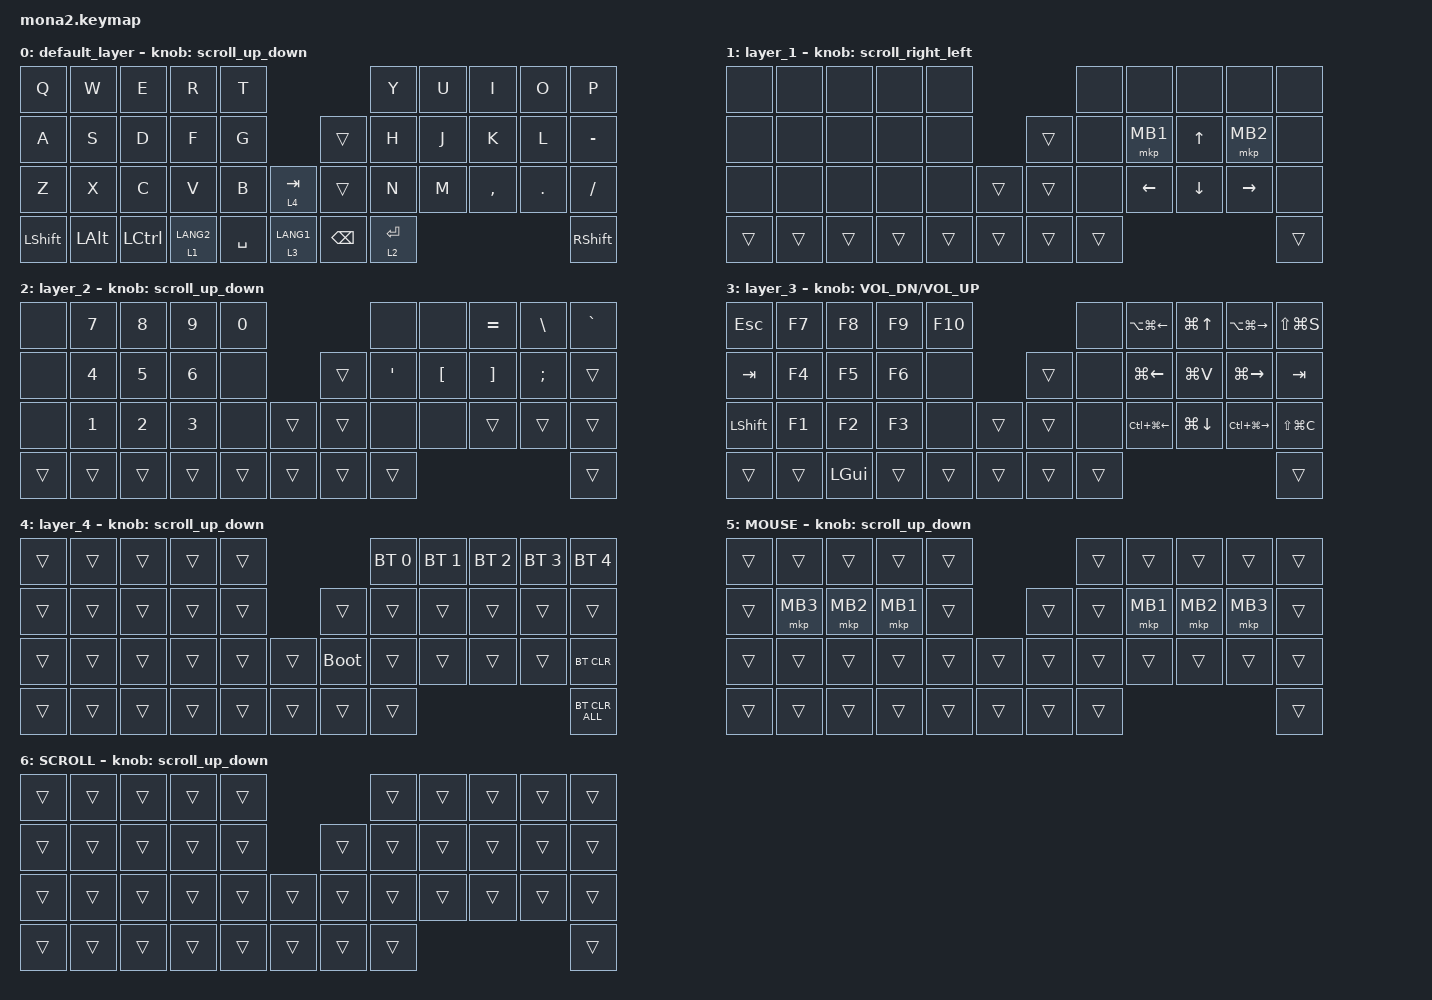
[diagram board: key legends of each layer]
#include <input/processors.dtsi>
#include <dt-bindings/zmk/input_transform.h>
#include <zephyr/dt-bindings/input/input-event-codes.h>
#include <behaviors.dtsi>
#include <dt-bindings/zmk/bt.h>
#include <dt-bindings/zmk/keys.h>
#include <dt-bindings/zmk/pointing.h>

#define ZMK_POINTING_DEFAULT_SCRL_VAL 100
#define MOUSE 5
#define SCROLL 6

&mt {
    flavor = "balanced";
    quick-tap-ms = <0>;
};

&lt {
    quick-tap-ms = <300>;
    flavor = "balanced";
};

/ {
    combos {
        compatible = "zmk,combos";

        layer4_ESC {
            bindings = <&lt 4 ESC>;
            key-positions = <39 38>;
        };

        tab {
            bindings = <&kp TAB>;
            key-positions = <11 12>;
        };
    };

    macros {
        to_layer_0: to_layer_0 {
            compatible = "zmk,behavior-macro-one-param";
            #binding-cells = <1>;
            bindings = <&to 0 &macro_param_1to1 &kp MACRO_PLACEHOLDER>;
            label = "TO_LAYER_0";
        };
    };

    behaviors {
        lt_to_layer_0: lt_to_layer_0 {
            compatible = "zmk,behavior-hold-tap";
            label = "LAYER_TAP_TO_0";
            bindings = <&mo>, <&to_layer_0>;

            #binding-cells = <2>;
            tapping-term-ms = <200>;
        };

        scroll_up_down: mouse_wheel_up_down {
            compatible = "zmk,behavior-sensor-rotate";
            #sensor-binding-cells = <0>;
            bindings = <&msc SCRL_DOWN>, <&msc SCRL_UP>;

            tap-ms = <20>;
        };

        scroll_right_left: mouse_wheel_right_left {
            compatible = "zmk,behavior-sensor-rotate";
            #sensor-binding-cells = <0>;
            bindings = <&msc SCRL_LEFT>, <&msc SCRL_RIGHT>;

            tap-ms = <20>;
        };
    };

    keymap {
        compatible = "zmk,keymap";

        default_layer {
            bindings = <
&kp Q           &kp W         &kp E             &kp R                   &kp T                                               &kp Y        &kp U  &kp I      &kp O    &kp P
&kp A           &kp S         &kp D             &kp F                   &kp G                                &trans         &kp H        &kp J  &kp K      &kp L    &kp MINUS
&kp Z           &kp X         &kp C             &kp V                   &kp B      &lt_to_layer_0 4 TAB      &trans         &kp N        &kp M  &kp COMMA  &kp DOT  &kp SLASH
&kp LEFT_SHIFT  &kp LEFT_ALT  &kp LEFT_CONTROL  &lt_to_layer_0 1 LANG2  &kp SPACE  &lt_to_layer_0 3 LANG1    &kp BACKSPACE  &lt 2 ENTER                             &kp RIGHT_SHIFT
            >;

            sensor-bindings = <&scroll_up_down>;
        };

        layer_1 {
            bindings = <
&none   &none   &none   &none   &none                     &none   &none     &none     &none      &none
&none   &none   &none   &none   &none             &trans  &none   &mkp MB1  &kp UP    &mkp MB2   &none
&none   &none   &none   &none   &none   &trans    &trans  &none   &kp LEFT  &kp DOWN  &kp RIGHT  &none
&trans  &trans  &trans  &trans  &trans  &trans    &trans  &trans                                 &trans
            >;

            sensor-bindings = <&scroll_right_left>;
        };

        layer_2 {
            bindings = <
&none   &kp NUMBER_7  &kp NUMBER_8  &kp NUMBER_9  &kp NUMBER_0                    &none             &none             &kp EQUAL          &kp BACKSLASH  &kp GRAVE
&none   &kp NUMBER_4  &kp NUMBER_5  &kp NUMBER_6  &none                   &trans  &kp SINGLE_QUOTE  &kp LEFT_BRACKET  &kp RIGHT_BRACKET  &kp SEMI       &trans
&none   &kp NUMBER_1  &kp NUMBER_2  &kp NUMBER_3  &none         &trans    &trans  &none             &none             &trans             &trans         &trans
&trans  &trans        &trans        &trans        &trans        &trans    &trans  &trans                                                                &trans
            >;

            sensor-bindings = <&scroll_up_down>;
        };

        layer_3 {
            bindings = <
&kp ESC         &kp F7  &kp F8        &kp F9  &kp F10                    &none   &kp LA(LG(LEFT))    &kp LG(UP_ARROW)  &kp LA(LG(RIGHT))    &kp LS(LG(S))
&kp TAB         &kp F4  &kp F5        &kp F6  &none              &trans  &none   &kp LG(LEFT_ARROW)  &kp LG(V)         &kp LG(RIGHT_ARROW)  &kp TAB
&kp LEFT_SHIFT  &kp F1  &kp F2        &kp F3  &none    &trans    &trans  &none   &kp LC(LG(LEFT))    &kp LG(DOWN)      &kp LC(LG(RIGHT))    &kp LS(LG(C))
&trans          &trans  &kp LEFT_GUI  &trans  &trans   &trans    &trans  &trans                                                             &trans
            >;

            sensor-bindings = <&inc_dec_kp C_VOL_DN C_VOL_UP>;
        };

        layer_4 {
            bindings = <
&trans  &trans  &trans  &trans  &trans                         &bt BT_SEL 0  &bt BT_SEL 1  &bt BT_SEL 2  &bt BT_SEL 3  &bt BT_SEL 4
&trans  &trans  &trans  &trans  &trans            &trans       &trans        &trans        &trans        &trans        &trans
&trans  &trans  &trans  &trans  &trans  &trans    &bootloader  &trans        &trans        &trans        &trans        &bt BT_CLR
&trans  &trans  &trans  &trans  &trans  &trans    &trans       &trans                                                  &bt BT_CLR_ALL
            >;

            sensor-bindings = <&scroll_up_down>;
        };

        MOUSE {
            bindings = <
&trans  &trans    &trans    &trans    &trans                    &trans  &trans    &trans    &trans    &trans
&trans  &mkp MB3  &mkp MB2  &mkp MB1  &trans            &trans  &trans  &mkp MB1  &mkp MB2  &mkp MB3  &trans
&trans  &trans    &trans    &trans    &trans  &trans    &trans  &trans  &trans    &trans    &trans    &trans
&trans  &trans    &trans    &trans    &trans  &trans    &trans  &trans                                &trans
            >;

            sensor-bindings = <&scroll_up_down>;
        };

        SCROLL {
            bindings = <
&trans  &trans  &trans  &trans  &trans                    &trans  &trans  &trans  &trans  &trans
&trans  &trans  &trans  &trans  &trans            &trans  &trans  &trans  &trans  &trans  &trans
&trans  &trans  &trans  &trans  &trans  &trans    &trans  &trans  &trans  &trans  &trans  &trans
&trans  &trans  &trans  &trans  &trans  &trans    &trans  &trans                          &trans
            >;

            sensor-bindings = <&scroll_up_down>;
        };
    };
};
